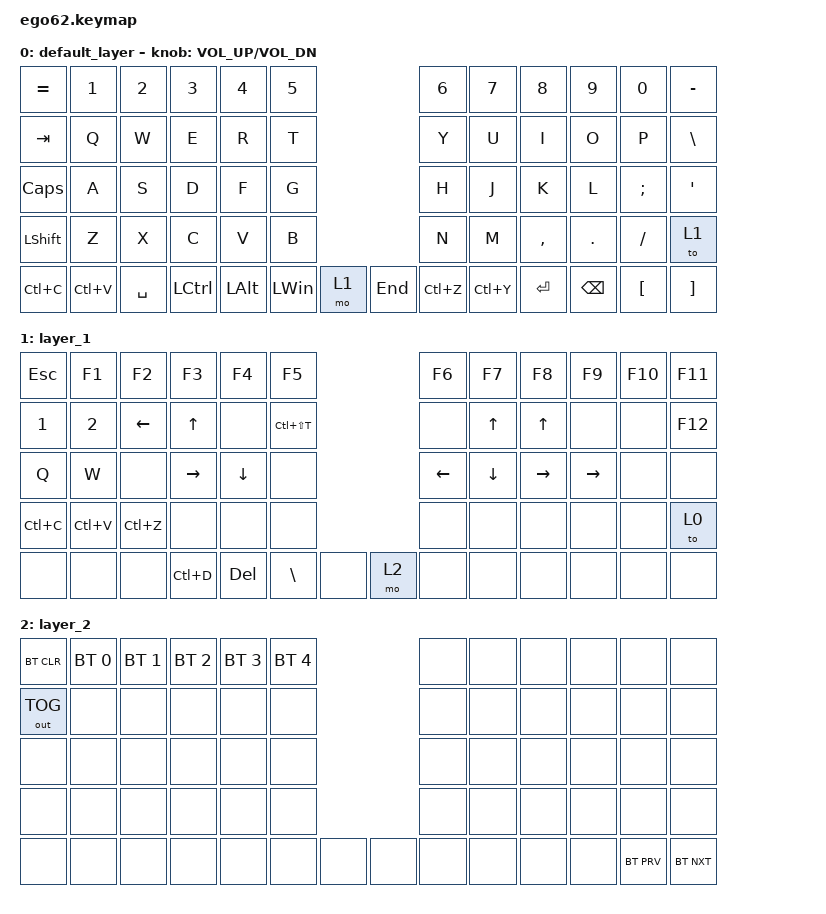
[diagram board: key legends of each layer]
/*
 * Copyright (c) 2020 The ZMK Contributors
 *
 * SPDX-License-Identifier: MIT
 */

#include <behaviors.dtsi>
#include <dt-bindings/zmk/bt.h>
#include <dt-bindings/zmk/keys.h>
#include <dt-bindings/zmk/outputs.h>

/ {
    keymap {
        compatible = "zmk,keymap";

        default_layer {
            bindings = <
&kp EQUAL     &kp N1     &kp N2     &kp N3     &kp N4    &kp N5                        &kp N6     &kp N7     &kp N8     &kp N9         &kp N0         &kp MINUS
&kp TAB       &kp Q      &kp W      &kp E      &kp R     &kp T                         &kp Y      &kp U      &kp I      &kp O          &kp P          &kp BACKSLASH
&kp CAPSLOCK  &kp A      &kp S      &kp D      &kp F     &kp G                         &kp H      &kp J      &kp K      &kp L          &kp SEMICOLON  &kp SQT
&kp LSHFT     &kp Z      &kp X      &kp C      &kp V     &kp B                         &kp N      &kp M      &kp COMMA  &kp DOT        &kp FSLH       &to 1
&kp LC(C)     &kp LC(V)  &kp SPACE  &kp LCTRL  &kp LALT  &kp LEFT_WIN  &mo 1  &kp END  &kp LC(Z)  &kp LC(Y)  &kp ENTER  &kp BACKSPACE  &kp LBKT       &kp RBKT
            >;

            sensor-bindings = <&inc_dec_kp C_VOL_UP C_VOL_DN>;
        };

        layer_1 {
            bindings = <
&kp ESC       &kp F1        &kp F2     &kp F3        &kp F4      &kp F5                       &kp F6    &kp F7        &kp F8     &kp F9     &kp F10  &kp F11
&kp NUMBER_1  &kp NUMBER_2  &kp LEFT   &kp UP_ARROW  &none       &kp LC(LS(T))                &none     &kp UP_ARROW  &kp UP     &none      &none    &kp F12
&kp Q         &kp W         &none      &kp RIGHT     &kp DOWN    &none                        &kp LEFT  &kp DOWN      &kp RIGHT  &kp RIGHT  &none    &none
&kp LC(C)     &kp LC(V)     &kp LC(Z)  &none         &none       &none                        &none     &none         &none      &none      &none    &to 0
&none         &none         &none      &kp LC(D)     &kp DELETE  &kp BACKSLASH  &none  &mo 2  &none     &none         &none      &none      &none    &none
            >;
        };

        layer_2 {
            bindings = <
&bt BT_CLR    &bt BT_SEL 0  &bt BT_SEL 1  &bt BT_SEL 2  &bt BT_SEL 3  &bt BT_SEL 4                &none  &none  &none  &none  &none       &none
&out OUT_TOG  &none         &none         &none         &none         &none                       &none  &none  &none  &none  &none       &none
&none         &none         &none         &none         &none         &none                       &none  &none  &none  &none  &none       &none
&none         &none         &none         &none         &none         &none                       &none  &none  &none  &none  &none       &none
&none         &none         &none         &none         &none         &none         &none  &none  &none  &none  &none  &none  &bt BT_PRV  &bt BT_NXT
            >;
        };
    };
};
